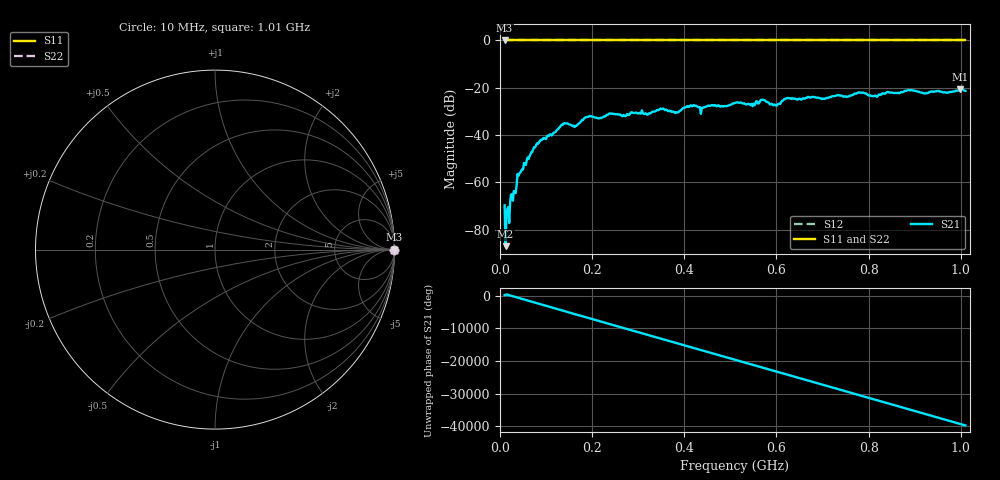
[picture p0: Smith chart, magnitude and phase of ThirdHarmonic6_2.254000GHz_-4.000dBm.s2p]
! 8/17/2025 2:43:50 AM
! C:\ANRITSUVNA\TEMP\TEMP.S2P
! CHANNEL.1
! TR.MEASUREMENT
! RAW.DATA
! RF.CORRECTION.OFF
! AVERAGING.OFF
! IF.BANDWIDTH: 5KHZ
! SWEEPTYPE:  FREQ.SWEEP(Linear)
! Reference Plane Port Info
! PORT:  PORT1  PORT2
! DISTANCE:  0  m  0  m
! TIME:  0  s  0  s
! PHASE.OFFSET:  0  deg.  0  deg.
! LOSS:  0  dB  0  dB
! REF.LOSS:  0  dB  0  dB
! REF.FREQ:  0  Hz  0  Hz
! Power Info
! POWER:  -20  dBm  -20  dBm
! EFF.POWER:  -20  dBm  -20  dBm
! SOURCE.ATTEN:  0  dB  0  dB
! TEST.ATTEN:  0  dB  0  dB
# GHZ S RI R 50.0
! FREQ.GHZ  S11RE  S11IM  S21RE  S21IM  S12RE  S12IM  S22RE  S22IM
!; PortSelection: Port_12
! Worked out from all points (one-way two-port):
!   501 points, 10 MHz to 1.01 GHz, reference 50 ohm
!   highest |S21| = -20.69 dB at 998 MHz (marker M1); lowest = -87.0 dB at 12 MHz (marker M2)
!   lowest |S11| = 0.0 dB at 10 MHz (marker M3)
!   |S11| at or under -10 dB: nowhere
!   |S22| runs from 0.0 to 0.0 dB; largest |S21 - S12| = 1.1
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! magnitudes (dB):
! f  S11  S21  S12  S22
! 10 MHz  0.0  -69.7  0.0  0.0
! 12 MHz  0.0  -87.0  0.0  0.0
! 16 MHz  0.0  -71.1  0.0  0.0
! 26 MHz  0.0  -65.0  0.0  0.0
! 32 MHz  0.0  -64.4  0.0  0.0
! 42 MHz  0.0  -56.2  0.0  0.0
! 76 MHz  0.0  -45.2  0.0  0.0
! 136 MHz  0.0  -35.7  0.0  0.0
! 162 MHz  0.0  -36.6  0.0  0.0
! 178 MHz  0.0  -33.6  0.0  0.0
! 344 MHz  0.0  -29.5  0.0  0.0
! 384 MHz  0.0  -30.4  0.0  0.0
! 410 MHz  0.0  -28.1  0.0  0.0
! 510 MHz  0.0  -26.4  0.0  0.0
! 548 MHz  0.0  -27.8  0.0  0.0
! 570 MHz  0.0  -25.1  0.0  0.0
! 596 MHz  0.0  -27.1  0.0  0.0
! 622 MHz  0.0  -24.5  0.0  0.0
! 678 MHz  0.0  -23.8  0.0  0.0
! 844 MHz  0.0  -21.9  0.0  0.0
! 998 MHz  0.0  -20.7  0.0  0.0
! 1.01 GHz  0.0  -21.3  0.0  0.0
